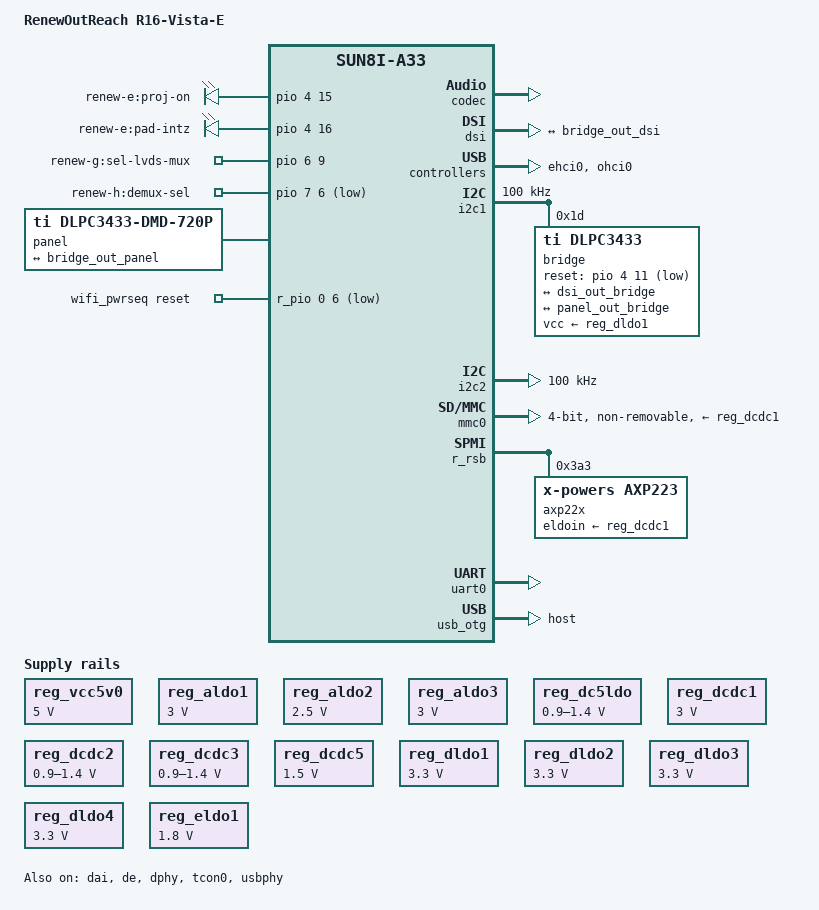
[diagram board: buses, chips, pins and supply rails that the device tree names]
// SPDX-License-Identifier: (GPL-2.0+ OR MIT)
/*
 * Copyright (C) 2020 RenewOutReach
 * Copyright (C) 2018 Amarula Solutions(India)
 */

/dts-v1/;
#include "sun8i-a33.dtsi"

#include <dt-bindings/gpio/gpio.h>
#include <dt-bindings/leds/common.h>

/ {
	model = "RenewOutReach R16-Vista-E";
	compatible = "renewoutreach,renew-vista-e", "allwinner,sun8i-a33";

	aliases {
		i2c0 = &i2c0;
		i2c1 = &i2c1;
		i2c2 = &i2c2;
		serial0 = &uart0;
		serial1 = &uart1;
	};

	chosen {
		stdout-path = "serial0:115200n8";
	};

	leds {
		compatible = "gpio-leds";

		proj-on {
			label = "renew-e:proj-on";
			gpios = <&pio 4 15 GPIO_ACTIVE_HIGH>; /* PROJ_ON */
			default-state = "on";
		};

		pad-intz {
			label = "renew-e:pad-intz";
			gpios = <&pio 4 16 GPIO_ACTIVE_HIGH>; /* PAD_INTZ */
			default-state = "on";
		};

		sel-lvds-mux {
			label = "renew-g:sel-lvds-mux";
			gpios = <&pio 6 9 GPIO_ACTIVE_HIGH>; /* PROJ_ON */
			default-state = "on";
		};

		demux-sel {
			label = "renew-h:demux-sel";
			gpios = <&pio 7 6 GPIO_ACTIVE_LOW>; /* PROJ_ON */
			default-state = "on";
		};
	};

	panel {
		compatible = "ti,dlpc3433-dmd-720p", "simple-panel";
		/* backlight not required */

		port {
			panel_out_bridge: endpoint {
				remote-endpoint = <&bridge_out_panel>;
			};
		};
	};

	reg_vcc5v0: vcc5v0 {
		compatible = "regulator-fixed";
		regulator-name = "vcc5v0";
		regulator-min-microvolt = <5000000>;
		regulator-max-microvolt = <5000000>;
	};

	wifi_pwrseq: wifi_pwrseq {
		compatible = "mmc-pwrseq-simple";
		reset-gpios = <&r_pio 0 6 GPIO_ACTIVE_LOW>; /* PL06 */
	};
};

&codec {
	status = "okay";
};

&cpu0 {
	cpu-supply = <&reg_dcdc3>;
};

&cpu0_opp_table {
	opp-1104000000 {
		opp-hz = /bits/ 64 <1104000000>;
		opp-microvolt = <1320000>;
		clock-latency-ns = <244144>; /* 8 32k periods */
	};

	opp-1200000000 {
		opp-hz = /bits/ 64 <1200000000>;
		opp-microvolt = <1320000>;
		clock-latency-ns = <244144>; /* 8 32k periods */
	};
};

&dai {
	status = "okay";
};

&de {
	status = "okay";
};

&dphy {
	status = "okay";
};

&dsi {
	vcc-dsi-supply = <&reg_dcdc1>;		/* VCC-DSI */
	status = "okay";

	ports {
		#address-cells = <1>;
		#size-cells = <0>;

		port@0 {
			reg = <0>;

			dsi_out_bridge: endpoint {
				remote-endpoint = <&bridge_out_dsi>;
			};
		};
	};
};

&ehci0 {
	status = "okay";
};

/* This I2C bus is used for volume up and an LED instead so it should be disabled -CV20200326 */
&i2c0 {
	clock-frequency = <100000>; /* i2c bus frequency 100 KHz */
	status = "disabled";
};

/* These are connected to the I2C for the fuel gauge -CV20200401 */
&i2c1 {
	clock-frequency = <100000>; /* i2c bus frequency 100 KHz */
	status = "okay";

	bridge@1d {
		compatible = "ti,dlpc3433";
		reg = <0x1d>;
		reset-gpios = <&pio 4 11 GPIO_ACTIVE_LOW>; /* HOST_IRQ */
		vcc-supply = <&reg_dldo1>; /* VCC_INTF: D+3V3_MAIN */

		ports {
			#address-cells = <1>;
			#size-cells = <0>;

			bridge_in: port@0 {
				reg = <0>;

				bridge_out_dsi: endpoint {
					remote-endpoint = <&dsi_out_bridge>;
				};
			};

			bridge_out: port@1 {
				reg = <1>;

				bridge_out_panel: endpoint {
					remote-endpoint = <&panel_out_bridge>;
				};
			};
		};
	};
};

&i2c2 {
	clock-frequency = <100000>; /* i2c bus frequency 100 KHz */
	status = "okay";
};

/* the internal SD card that holds the root and boot filesystems, non-removable -CV20200407 */
&mmc0 {
	pinctrl-names = "default";
	pinctrl-0 = <&mmc0_pins_a>;
	vmmc-supply = <&reg_dcdc1>;
	bus-width = <4>;
	non-removable;
	status = "okay";
};

&ohci0 {
	status = "okay";
};

&r_rsb {
	status = "okay";

	axp22x: pmic@3a3 {
		compatible = "x-powers,axp223";
		reg = <0x3a3>;
		interrupt-parent = <&nmi_intc>;
		interrupts = <0 IRQ_TYPE_LEVEL_LOW>;
		eldoin-supply = <&reg_dcdc1>;
		x-powers,drive-vbus-en;
	};
};

#include "axp223.dtsi"

&ac_power_supply {
	status = "okay";
};

/* connects to D+3V0_VCC symbol -CV20200327 */
&reg_aldo1 {
	regulator-always-on;
	regulator-min-microvolt = <3000000>;
	regulator-max-microvolt = <3000000>;
	regulator-name = "vcc-io";
};

/* connects to D+2V5_VDD-DLL symbol -CV20200327 */
&reg_aldo2 {
	regulator-always-on;
	regulator-min-microvolt = <2500000>;
	regulator-max-microvolt = <2500000>;
	regulator-name = "vdd-dll";
};

/* connects to A+3V3 symbol -CV20200327 */
&reg_aldo3 {
	regulator-always-on;
	regulator-min-microvolt = <3000000>;
	regulator-max-microvolt = <3000000>;
	regulator-name = "avcc";
};

&reg_dc1sw {
	regulator-name = "vcc-lcd";
};

/* connects to 1v1_vdd-cpus symbol -CV20200327 */
&reg_dc5ldo {
	regulator-always-on;
	regulator-min-microvolt = <900000>;
	regulator-max-microvolt = <1400000>;
	regulator-name = "vdd-cpus";
};

/* connects to D+3v0 symbol -CV20200327 */
&reg_dcdc1 {
	regulator-always-on;
	regulator-min-microvolt = <3000000>;
	regulator-max-microvolt = <3000000>;
	regulator-name = "vcc-3v0";
};

/* connects to D+1v1_VDD-SYS symbol -CV20200327 */
&reg_dcdc2 {
	regulator-always-on;
	regulator-min-microvolt = <900000>;
	regulator-max-microvolt = <1400000>;
	regulator-name = "vdd-sys";
};

/* connects to D+1v1_VDD-CPU symbol -CV20200327 */
&reg_dcdc3 {
	regulator-always-on;
	regulator-min-microvolt = <900000>;
	regulator-max-microvolt = <1400000>;
	regulator-name = "vdd-cpu";
};

/* connects to D+1v5_DRAM symbol -CV20200327 */
&reg_dcdc5 {
	regulator-always-on;
	regulator-min-microvolt = <1500000>;
	regulator-max-microvolt = <1500000>;
	regulator-name = "vcc-dram";
};

/* dldo1,2,3,4 are coupled together and provide the main 3v3 for the board -CV20200327 */
&reg_dldo1 {
	regulator-always-on;
	regulator-min-microvolt = <3300000>;
	regulator-max-microvolt = <3300000>;
	regulator-name = "vcc-3v3-main1";
};

&reg_dldo2 {
	regulator-always-on;
	regulator-min-microvolt = <3300000>;
	regulator-max-microvolt = <3300000>;
	regulator-name = "vcc-3v3-main2";
};

&reg_dldo3 {
	regulator-always-on;
	regulator-min-microvolt = <3300000>;
	regulator-max-microvolt = <3300000>;
	regulator-name = "vcc-3v3-main3";
};

&reg_dldo4 {
	regulator-always-on;
	regulator-min-microvolt = <3300000>;
	regulator-max-microvolt = <3300000>;
	regulator-name = "vcc-3v3-main4";
};

/* connects to D+1V8_HDMI symbol -CV20200327 */
&reg_eldo1 {
	regulator-always-on;
	regulator-min-microvolt = <1800000>;
	regulator-max-microvolt = <1800000>;
	regulator-name = "vcc-1v8-hdmi";
};

&reg_drivevbus {
	regulator-name = "usb0-vbus";
	status = "okay";
};

&reg_rtc_ldo {
	regulator-name = "vcc-rtc";
};

&sound {
	status = "okay";
};

&tcon0 {
	status = "okay";
};

&uart0 {
	pinctrl-names = "default";
	pinctrl-0 = <&uart0_pins_b>;
	status = "okay";
};

/* use the host option for the usb_otg to have it always act as a host -CV20200407 */
&usb_otg {
	dr_mode = "host";
	status = "okay";
};

&usb_power_supply {
	status = "okay";
};

&usbphy {
	usb0_vbus-supply = <&reg_vcc5v0>;
	status = "okay";
};
